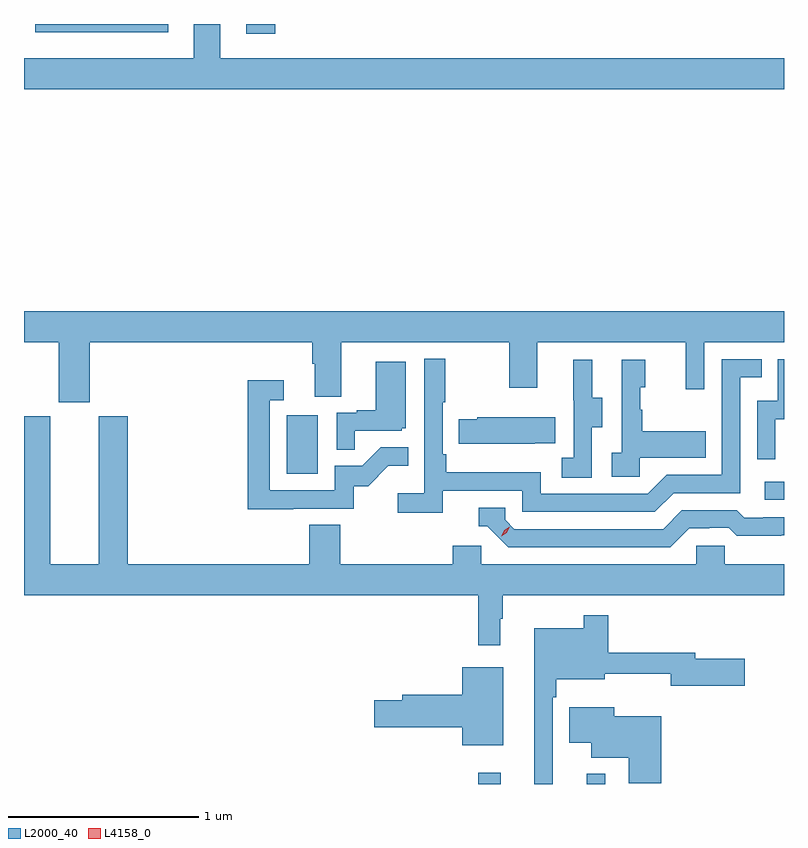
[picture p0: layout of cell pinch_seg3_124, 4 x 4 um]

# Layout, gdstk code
import gdstk
lib = gdstk.Library(unit=1e-6, precision=1e-09)
def R(c, l, rs):  # rectangles x0, y0, x1, y1
    for r in rs: c.add(gdstk.rectangle(r[:2], r[2:], *l))
def P(c, l, *ps):  # polygons
    for p in ps: c.add(gdstk.Polygon(p, *l))
L2000_40 = (2000, 40)
L4158_0 = (4158, 0)

pinch_seg3_124 = lib.new_cell('pinch_seg3_124')
R(pinch_seg3_124, L2000_40, [(1127.143,707.915,1127.261,707.974), (1127.714,707.915,1127.811,707.968), (1128.651,709.41,1128.753,709.506), (1126.136,709.548,1126.3,709.855), (1125.923,711.864,1126.076,711.915), (1124.811,711.872,1125.511,711.915)])
P(pinch_seg3_124, L2000_40, [(1128.753,711.736),(1125.787,711.736),(1125.787,711.915),(1125.647,711.915),(1125.647,711.736),(1124.753,711.736),(1124.753,711.572),(1128.753,711.572)],
  [(1125.1,710.24),(1126.271,710.24),(1126.271,710.128),(1126.283,710.128),(1126.283,709.954),(1126.423,709.954),(1126.423,710.24),(1127.308,710.24),(1127.308,710.001),(1127.455,710.001),(1127.455,710.24),(1128.236,710.24),(1128.236,709.992),(1128.333,709.992),(1128.333,710.24),(1128.753,710.24),(1128.753,710.404),(1124.753,710.404),(1124.753,710.24),(1124.936,710.24),(1124.936,709.923),(1125.1,709.923)],
  [(1126.958,709.458),(1127.376,709.458),(1127.376,709.347),(1128.073,709.347),(1128.172,709.446),(1128.522,709.446),(1128.522,710.055),(1128.635,710.055),(1128.635,710.151),(1128.426,710.151),(1128.426,709.542),(1128.135,709.542),(1128.036,709.443),(1127.472,709.443),(1127.472,709.555),(1126.976,709.555),(1126.976,709.651),(1126.956,709.651),(1126.956,709.924),(1126.969,709.924),(1126.969,710.152),(1126.86,710.152),(1126.86,709.444),(1126.719,709.444),(1126.719,709.342),(1126.958,709.342)],
  [(1128.708,709.835),(1128.753,709.835),(1128.753,710.151),(1128.72,710.151),(1128.72,709.932),(1128.612,709.932),(1128.612,709.623),(1128.708,709.623)],
  [(1127.742,709.792),(1127.797,709.792),(1127.797,709.947),(1127.743,709.947),(1127.743,710.149),(1127.645,710.149),(1127.645,709.935),(1127.646,709.935),(1127.646,709.631),(1127.583,709.631),(1127.583,709.528),(1127.742,709.528)],
  [(1127.994,709.631),(1128.341,709.631),(1128.341,709.771),(1128.007,709.771),(1128.007,709.886),(1127.997,709.886),(1127.997,710.004),(1128.022,710.004),(1128.022,710.149),(1127.898,710.149),(1127.898,709.658),(1127.847,709.658),(1127.847,709.533),(1127.994,709.533)],
  [(1126.493,709.773),(1126.74,709.773),(1126.74,709.788),(1126.762,709.788),(1126.762,710.137),(1126.604,710.137),(1126.604,709.882),(1126.505,709.882),(1126.505,709.869),(1126.398,709.869),(1126.398,709.675),(1126.493,709.675)],
  [(1126.169,709.365),(1126.488,709.365),(1126.488,709.482),(1126.564,709.482),(1126.671,709.589),(1126.775,709.589),(1126.775,709.688),(1126.631,709.688),(1126.533,709.59),(1126.389,709.59),(1126.389,709.461),(1126.047,709.461),(1126.047,709.935),(1126.12,709.935),(1126.12,710.041),(1125.931,710.041),(1125.931,709.36),(1126.169,709.36)],
  [(1127.26,708.785),(1127.272,708.785),(1127.272,708.908),(1128.753,708.908),(1128.753,709.072),(1128.441,709.072),(1128.441,709.17),(1128.291,709.17),(1128.291,709.072),(1127.16,709.072),(1127.16,709.17),(1127.009,709.17),(1127.009,709.072),(1126.418,709.072),(1126.418,709.28),(1126.253,709.28),(1126.253,709.072),(1125.299,709.072),(1125.299,709.851),(1125.146,709.851),(1125.146,709.072),(1124.89,709.072),(1124.89,709.851),(1124.753,709.851),(1124.753,708.908),(1127.143,708.908),(1127.143,708.645),(1127.26,708.645)],
  [(1127.441,709.709),(1127.549,709.709),(1127.549,709.846),(1127.139,709.846),(1127.139,709.836),(1127.041,709.836),(1127.041,709.706),(1127.441,709.706)],
  [(1128.253,709.26),(1128.36,709.26),(1128.36,709.263),(1128.463,709.263),(1128.505,709.221),(1128.738,709.221),(1128.738,709.223),(1128.753,709.223),(1128.753,709.32),(1128.643,709.32),(1128.643,709.317),(1128.544,709.317),(1128.505,709.356),(1128.216,709.356),(1128.117,709.257),(1127.334,709.257),(1127.286,709.305),(1127.286,709.368),(1127.147,709.368),(1127.147,709.272),(1127.19,709.272),(1127.301,709.161),(1128.154,709.161)],
  [(1127.535,708.371),(1127.555,708.371),(1127.555,708.467),(1127.809,708.467),(1127.809,708.496),(1128.158,708.496),(1128.158,708.431),(1128.547,708.431),(1128.547,708.573),(1128.286,708.573),(1128.286,708.607),(1127.828,708.607),(1127.828,708.802),(1127.7,708.802),(1127.7,708.736),(1127.438,708.736),(1127.438,707.915),(1127.535,707.915)],
  [(1127.275,708.529),(1127.06,708.529),(1127.06,708.386),(1126.745,708.386),(1126.745,708.356),(1126.596,708.356),(1126.596,708.214),(1127.06,708.214),(1127.06,708.119),(1127.275,708.119)],
  [(1128.107,708.271),(1127.86,708.271),(1127.86,708.319),(1127.624,708.319),(1127.624,708.131),(1127.738,708.131),(1127.738,708.053),(1127.936,708.053),(1127.936,707.919),(1128.107,707.919)])
P(pinch_seg3_124, L4158_0, [(1127.264,709.218),(1127.264,709.218),(1127.28,709.251),(1127.31,709.27),(1127.31,709.27),(1127.31,709.27),(1127.295,709.238),(1127.264,709.218)])

lib.write_gds('pinch_seg3_124.gds')
